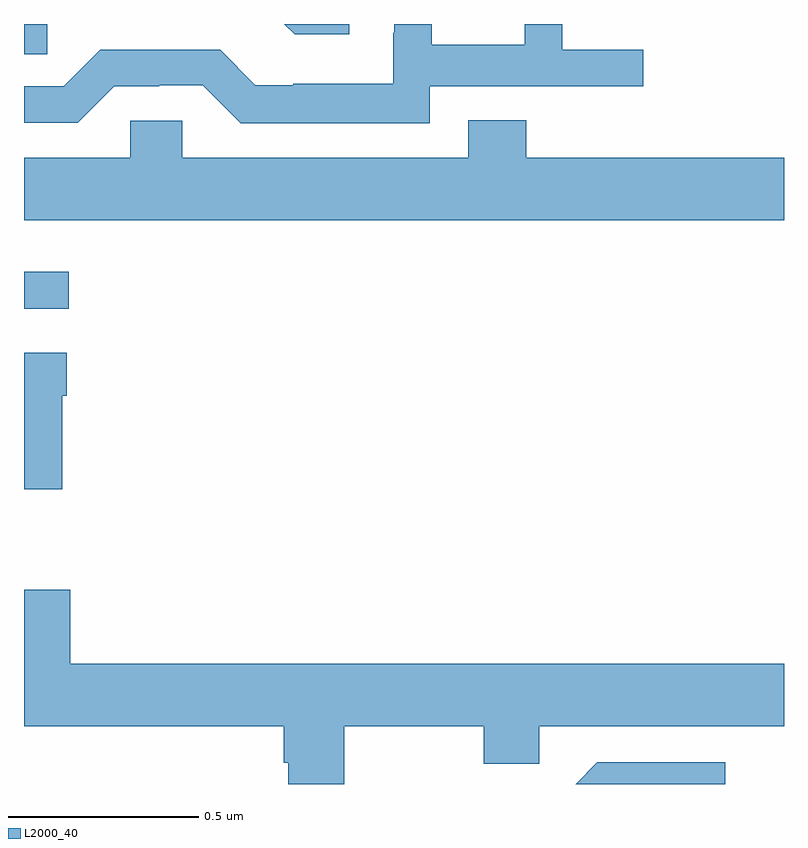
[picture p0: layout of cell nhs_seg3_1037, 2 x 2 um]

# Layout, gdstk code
import gdstk
lib = gdstk.Library(unit=1e-6, precision=1e-09)
def R(c, l, rs):  # rectangles x0, y0, x1, y1
    for r in rs: c.add(gdstk.rectangle(r[:2], r[2:], *l))
def P(c, l, *ps):  # polygons
    for p in ps: c.add(gdstk.Polygon(p, *l))
L2000_40 = (2000, 40)

nhs_seg3_1037 = lib.new_cell('nhs_seg3_1037')
R(nhs_seg3_1037, L2000_40, [(123,732.651,123.118,732.748), (123,733.321,123.061,733.4)])
P(nhs_seg3_1037, L2000_40, [(123.856,733.4),(123.685,733.4),(123.712,733.373),(123.856,733.373)],
  [(124.068,733.236),(124.63,733.236),(124.63,733.332),(124.416,733.332),(124.416,733.4),(124.318,733.4),(124.318,733.345),(124.073,733.345),(124.073,733.4),(123.974,733.4),(123.974,733.377),(123.972,733.377),(123.972,733.243),(123.709,733.243),(123.709,733.239),(123.609,733.239),(123.516,733.332),(123.201,733.332),(123.105,733.236),(123,733.236),(123,733.14),(123.141,733.14),(123.237,733.236),(123.356,733.236),(123.356,733.239),(123.471,733.239),(123.571,733.139),(124.068,733.139)],
  [(125,733.048),(124.322,733.048),(124.322,733.147),(124.169,733.147),(124.169,733.048),(123.417,733.048),(123.417,733.146),(123.279,733.146),(123.279,733.048),(123,733.048),(123,732.884),(125,732.884)],
  [(123.1,732.422),(123.113,732.422),(123.113,732.535),(123,732.535),(123,732.176),(123.1,732.176)],
  [(123.843,731.552),(124.21,731.552),(124.21,731.453),(124.356,731.453),(124.356,731.552),(125,731.552),(125,731.716),(123.122,731.716),(123.122,731.911),(123,731.911),(123,731.552),(123.683,731.552),(123.683,731.456),(123.695,731.456),(123.695,731.4),(123.843,731.4)],
  [(124.846,731.457),(124.509,731.457),(124.452,731.4),(124.846,731.4)])

lib.write_gds('nhs_seg3_1037.gds')
